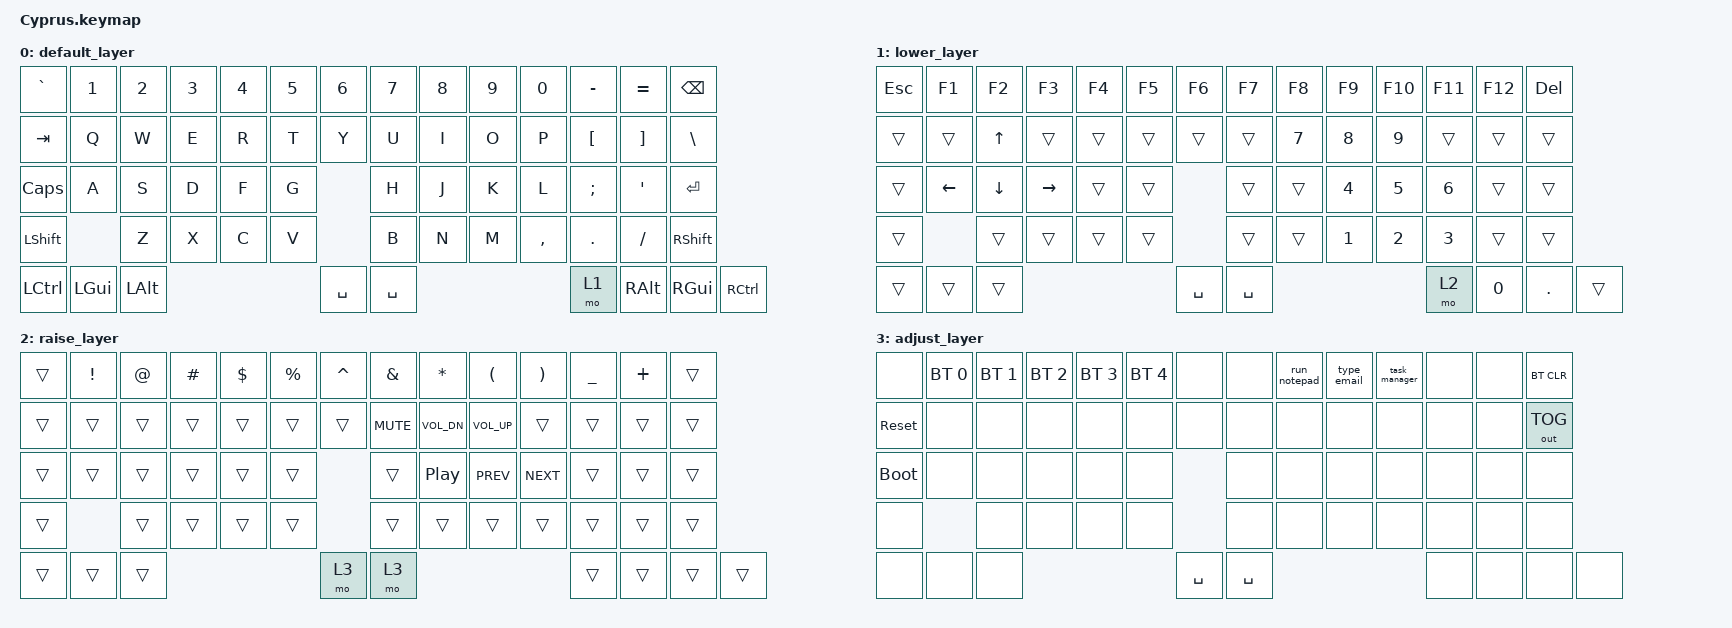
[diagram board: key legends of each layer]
#include <dt-bindings/zmk/keys.h>
#include <dt-bindings/zmk/bt.h>
#include <dt-bindings/zmk/outputs.h>
#include <behaviors.dtsi>

/ {
    macros {
    // Example 1: Basic Shift + Word Macro
    my_macro: my_macro {
        compatible = "zmk,behavior-macro";
        #binding-cells = <0>;
        bindings
            = <&macro_press &kp LSHIFT>
            , <&macro_tap &kp H &kp E &kp L &kp L &kp O>
            , <&macro_release &kp LSHIFT>
            , <&macro_tap &kp EXCL>
            ;
    };

    // Example 2: Open Win+R (Run Dialog) and Type a String
    run_notepad: run_notepad {
        compatible = "zmk,behavior-macro";
        #binding-cells = <0>;
        wait-ms = <30>;  // Wait 30ms between key events
        tap-ms = <40>;   // Hold keys for 40ms during tap
        bindings
            = <&macro_press &kp LGUI>           // Hold Windows Key
            , <&macro_tap &kp R>                // Press R
            , <&macro_release &kp LGUI>         // Release Windows Key
            , <&macro_wait_time 150>            // Pause 150ms for the Run dialog to open
            , <&macro_tap &kp N &kp O &kp T &kp E &kp P &kp A &kp D> // Type "notepad"
            , <&macro_tap &kp RET>              // Press Enter
            ;
    };

    // Open Vs code 

    run_vscode: run_vscode{
      compatible = "zmk,behavior-macro";
      #binding-cells = <0>;
      wait-ms = <30>;
      tap-ms = <40>;
      bindings
          = <&macro_press &kp LGUI>,
            <&macro_tap &kp R>,
            <&macro_wait_time 150>,
            <&macro_tap &kp C &kp O &kp D &kp E>,
            <&macro_tap &kp RET>;

    };

    
    // Example 3: Text Snippet (e.g., Typing an Email Address)
    type_email: type_email {
        compatible = "zmk,behavior-macro";
        #binding-cells = <0>;
        wait-ms = <10>;
        tap-ms = <10>;
        bindings
            = <&macro_tap &kp I &kp T &kp S &kp M &kp O &kp H &kp A &kp M &kp M &kp A &kp D &kp S &kp A &kp R &kp F &kp A &kp R &kp A &kp Z>
            , <&macro_press &kp LSHIFT>         // Hold Shift to type @
            , <&macro_tap &kp N2>               // Press 2 (@ symbol on US QWERTY)
            , <&macro_release &kp LSHIFT>       // Release Shift
            , <&macro_tap &kp E &kp M &kp A &kp I &kp L &kp DOT &kp C &kp O &kp M>
            ;
    };

    // Example 4: Complex Shortcut (Ctrl + Shift + Esc for Task Manager)
    task_manager: task_manager {
        compatible = "zmk,behavior-macro";
        #binding-cells = <0>;
        bindings
            = <&macro_press &kp LCTRL &kp LSHIFT> // Press both modifiers
            , <&macro_tap &kp ESC>                // Tap Escape
            , <&macro_release &kp LCTRL &kp LSHIFT> // Release both modifiers
            ;
    };
};

keymap {
        compatible = "zmk,keymap";

        default_layer {
            // -----------------------------------------------------------------------------------------
            // | `   |  1  |  2  |  3  |  4  |  5  |  6  |   |  7  |  8  |  9  |  0  |  -  |  =  |     | BKSP |
            // | TAB |  Q  |  W  |  E  |  R  |  T  |     |   |  Y  |  U  |  I  |  O  |  P  |  [  |  ]  |  \   |
            // | CAPS|  A  |  S  |  D  |  F  |  G  |     |   |  H  |  J  |  K  |  L  |  ;  |  '  |     |  ENT |
            // | SHFT|     |  Z  |  X  |  C  |  V  |     |   |  B  |  N  |  M  |  ,  |  .  |  /  |     |  SHFT|
            // | CTRL| GUI | ALT |     |     |     | SPC |   | SPC |     |     |     | MO1 | ALT | GUI | CTRL |
            // -----------------------------------------------------------------------------------------
            bindings = <
              &kp GRAVE  &kp N1    &kp N2    &kp N3    &kp N4    &kp N5    &kp N6         &kp N7    &kp N8    &kp N9    &kp N0    &kp MINUS &kp EQUAL           &kp BSPC
              &kp TAB    &kp Q     &kp W     &kp E     &kp R     &kp T                    &kp Y     &kp U     &kp I     &kp O     &kp P     &kp LBKT  &kp RBKT  &kp BSLH
              &kp CLCK   &kp A     &kp S     &kp D     &kp F     &kp G                    &kp H     &kp J     &kp K     &kp L     &kp SEMI  &kp SQT             &kp RET
              &kp LSHFT            &kp Z     &kp X     &kp C     &kp V                    &kp B     &kp N     &kp M     &kp COMMA &kp DOT   &kp FSLH            &kp RSHFT
              &kp LCTRL  &kp LGUI  &kp LALT                                &kp SPACE      &kp SPACE                               &mo 1     &kp RALT  &kp RGUI  &kp RCTRL
            >;
        };

        lower_layer {
            // -----------------------------------------------------------------------------------------
            // | ESC | F1  | F2  | F3  | F4  | F5  | F6  |   | F7  | F8  | F9  | F10 | F11 | F12 |     | DEL  |
            // |     |     | UP  |     |     |     |     |   |     |     |  7  |  8  |  9  |     |     |      |
            // |     | LFT | DWN | RGT |     |     |     |   |     |     |  4  |  5  |  6  |     |     |      |
            // |     |     |     |     |     |     |     |   |     |     |  1  |  2  |  3  |     |     |      |
            // |     |     |     |     |     |     | SPC |   | SPC |     |     |     | MO2 |  0  |  .  |      |
            // -----------------------------------------------------------------------------------------
            bindings = <
              &kp ESC    &kp F1    &kp F2    &kp F3    &kp F4    &kp F5    &kp F6         &kp F7    &kp F8    &kp F9    &kp F10   &kp F11   &kp F12             &kp DEL
              &trans     &trans    &kp UP    &trans    &trans    &trans                   &trans    &trans    &kp N7    &kp N8    &kp N9    &trans    &trans    &trans
              &trans     &kp LEFT  &kp DOWN  &kp RIGHT &trans    &trans                   &trans    &trans    &kp N4    &kp N5    &kp N6    &trans              &trans
              &trans               &trans    &trans    &trans    &trans                   &trans    &trans    &kp N1    &kp N2    &kp N3    &trans              &trans
              &trans     &trans    &trans                                  &kp SPACE      &kp SPACE                               &mo 2     &kp N0    &kp DOT   &trans
            >;
        };

        raise_layer {
            // -----------------------------------------------------------------------------------------
            // |     |  !  |  @  |  #  |  $  |  %  |  ^  |   |  &  |  *  |  (  |  )  |  _  |  +  |     |      |
            // |     |     |     |     |     |     |     |   |     | Mute| Vol-| Vol+|     |     |     |      |
            // |     |     |     |     |     |     |     |   |     | Play| Prev| Next|     |     |     |      |
            // |     |     |     |     |     |     |     |   |     |     |     |     |     |     |     |      |
            // |     |     |     |     |     |     | MO3 |   | MO3 |     |     |     |     |     |     |      |
            // -----------------------------------------------------------------------------------------
            bindings = <
              &trans     &kp EXCL  &kp AT    &kp HASH  &kp DLLR  &kp PRCNT &kp CARET      &kp AMPERSAND &kp ASTRK &kp LPAR &kp RPAR &kp UNDER &kp PLUS            &trans
              &trans     &trans    &trans    &trans    &trans    &trans                   &trans    &kp C_MUTE &kp C_VOL_DN &kp C_VOL_UP &trans &trans &trans    &trans
              &trans     &trans    &trans    &trans    &trans    &trans                   &trans    &kp C_PP  &kp C_PREV &kp C_NEXT &trans  &trans              &trans
              &trans               &trans    &trans    &trans    &trans                   &trans    &trans    &trans    &trans    &trans    &trans              &trans
              &trans     &trans    &trans                                  &mo 3          &mo 3                                   &trans    &trans    &trans    &trans
            >;
        };

        adjust_layer {
            // -----------------------------------------------------------------------------------------
            // |DEBUG| BT0 | BT1 | BT2 | BT3 | BT4 |     |   |     | MAC1| MAC2| MAC3|     |     |     | BTCLR|
            // |RESET|     |     |     |     |     |     |   |     |     |     |     |     |     |     | OUTTG|
            // |BOOTL|     |     |     |     |     |     |   |     |     |     |     |     |     |     |      |
            // |     |     |     |     |     |     |     |   |     |     |     |     |     |     |     |      |
            // |     |     |     |     |     |     | SPC |   | SPC |     |     |     |     |     |     |      |
            // -----------------------------------------------------------------------------------------
            bindings = <
              &none       &bt BT_SEL 0 &bt BT_SEL 1 &bt BT_SEL 2 &bt BT_SEL 3 &bt BT_SEL 4 &none        &none     &run_notepad &type_email &task_manager &none &none &bt BT_CLR
              &sys_reset  &none        &none        &none        &none        &none                     &none     &none        &none       &none         &none &none &none &out OUT_TOG
              &bootloader &none        &none        &none        &none        &none                     &none     &none        &none       &none         &none &none       &none
              &none                    &none        &none        &none        &none                     &none     &none        &none       &none         &none &none       &none
              &none       &none        &none                                               &kp SPACE    &kp SPACE                                        &none &none &none &none
            >;
        };
    };
};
